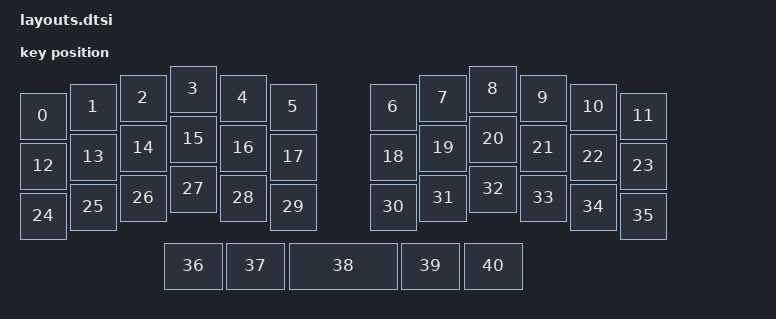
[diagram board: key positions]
#include <physical_layouts.dtsi>

/ {
    physical_layout0: physical_layout_0 {
        compatible = "zmk,physical-layout";
        display-name = "LAYOUT";

        kscan = <&kscan0>;
        transform = <&matrix_transform0>;

        keys  //                     w   h    x    y     rot    rx    ry
            = <&key_physical_attrs 100 100    0   54       0     0     0>
            , <&key_physical_attrs 100 100  100   36       0     0     0>
            , <&key_physical_attrs 100 100  200   18       0     0     0>
            , <&key_physical_attrs 100 100  300    0       0     0     0>
            , <&key_physical_attrs 100 100  400   18       0     0     0>
            , <&key_physical_attrs 100 100  500   36       0     0     0>
            , <&key_physical_attrs 100 100  700   36       0     0     0>
            , <&key_physical_attrs 100 100  800   18       0     0     0>
            , <&key_physical_attrs 100 100  900    0       0     0     0>
            , <&key_physical_attrs 100 100 1000   18       0     0     0>
            , <&key_physical_attrs 100 100 1100   36       0     0     0>
            , <&key_physical_attrs 100 100 1200   54       0     0     0>
            , <&key_physical_attrs 100 100    0  154       0     0     0>
            , <&key_physical_attrs 100 100  100  136       0     0     0>
            , <&key_physical_attrs 100 100  200  118       0     0     0>
            , <&key_physical_attrs 100 100  300  100       0     0     0>
            , <&key_physical_attrs 100 100  400  118       0     0     0>
            , <&key_physical_attrs 100 100  500  136       0     0     0>
            , <&key_physical_attrs 100 100  700  136       0     0     0>
            , <&key_physical_attrs 100 100  800  118       0     0     0>
            , <&key_physical_attrs 100 100  900  100       0     0     0>
            , <&key_physical_attrs 100 100 1000  118       0     0     0>
            , <&key_physical_attrs 100 100 1100  136       0     0     0>
            , <&key_physical_attrs 100 100 1200  154       0     0     0>
            , <&key_physical_attrs 100 100    0  254       0     0     0>
            , <&key_physical_attrs 100 100  100  236       0     0     0>
            , <&key_physical_attrs 100 100  200  218       0     0     0>
            , <&key_physical_attrs 100 100  300  200       0     0     0>
            , <&key_physical_attrs 100 100  400  218       0     0     0>
            , <&key_physical_attrs 100 100  500  236       0     0     0>
            , <&key_physical_attrs 100 100  700  236       0     0     0>
            , <&key_physical_attrs 100 100  800  218       0     0     0>
            , <&key_physical_attrs 100 100  900  200       0     0     0>
            , <&key_physical_attrs 100 100 1000  218       0     0     0>
            , <&key_physical_attrs 100 100 1100  236       0     0     0>
            , <&key_physical_attrs 100 100 1200  254       0     0     0>
            , <&key_physical_attrs 125 100  288  354       0     0     0>
            , <&key_physical_attrs 125 100  412  354       0     0     0>
            , <&key_physical_attrs 225 100  538  354       0     0     0>
            , <&key_physical_attrs 125 100  762  354       0     0     0>
            , <&key_physical_attrs 125 100  888  354       0     0     0>
            ;
    };
};
